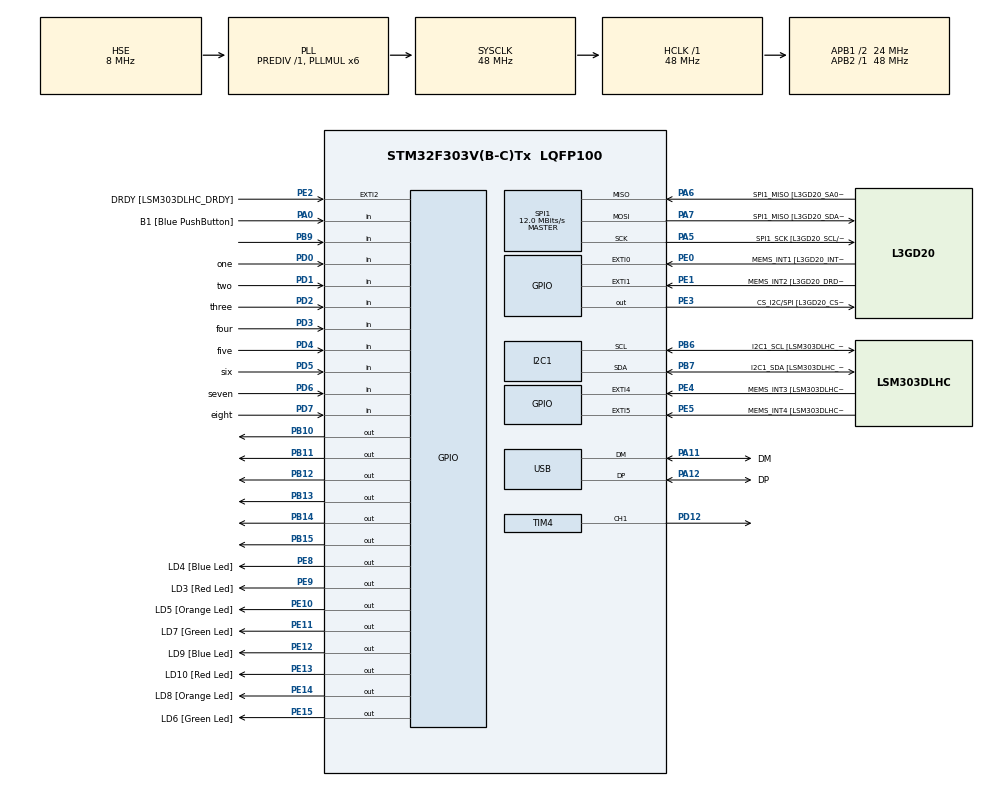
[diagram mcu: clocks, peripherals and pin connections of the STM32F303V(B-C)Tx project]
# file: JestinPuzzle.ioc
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I2C1.Timing=0x2000090E
I2C1.Timing-I2C=0x2000090E
Mcu.Family=STM32F3
Mcu.Name=STM32F303V(B-C)Tx
Mcu.Package=LQFP100
NVIC.PriorityGroup=NVIC_PRIORITYGROUP_0
PA0.GPIO_Label=B1 [Blue PushButton]
PA0.Signal=GPIO_Input
PA11.GPIO_Label=DM
PA11.Mode=Device
PA11.Signal=USB_DM
PA12.GPIO_Label=DP
PA12.Mode=Device
PA12.Signal=USB_DP
PA13.GPIO_Label=SWDIO
PA13.Mode=Serial_Wire
PA13.Signal=SYS_JTMS-SWDIO
PA14.GPIO_Label=SWCLK
PA14.Mode=Serial_Wire
PA14.Signal=SYS_JTCK-SWCLK
PA5.GPIO_Label=SPI1_SCK [L3GD20_SCL/SPC]
PA5.Mode=Full_Duplex_Master
PA5.Signal=SPI1_SCK
PA6.GPIO_Label=SPI1_MISO [L3GD20_SA0/SDO]
PA6.Mode=Full_Duplex_Master
PA6.Signal=SPI1_MISO
PA7.GPIO_Label=SPI1_MISO [L3GD20_SDA/SDI/SDO]
PA7.Mode=Full_Duplex_Master
PA7.Signal=SPI1_MOSI
PB10.Signal=GPIO_Output
PB11.Signal=GPIO_Output
PB12.Signal=GPIO_Output
PB13.Signal=GPIO_Output
PB14.Signal=GPIO_Output
PB15.Signal=GPIO_Output
PB3.GPIO_Label=SWO
PB3.Signal=SYS_JTDO-TRACESWO
PB6.GPIO_Label=I2C1_SCL [LSM303DLHC_SCL]
PB6.GPIO_Pu=GPIO_PULLUP
PB6.Mode=I2C
PB6.Signal=I2C1_SCL
PB7.GPIO_Label=I2C1_SDA [LSM303DLHC_SDA]
PB7.GPIO_Pu=GPIO_PULLUP
PB7.Mode=I2C
PB7.Signal=I2C1_SDA
PB9.GPIO_PuPd=GPIO_PULLDOWN
PB9.Signal=GPIO_Input
PC14-OSC32_IN.GPIO_Label=OSC32_IN
PC14-OSC32_IN.Signal=RCC_OSC32_IN
PC15-OSC32_OUT.GPIO_Label=OSC32_OUT
PC15-OSC32_OUT.Signal=RCC_OSC32_OUT
PD0.GPIO_Label=one
PD0.Signal=GPIO_Input
PD1.GPIO_Label=two
PD1.Signal=GPIO_Input
PD12.Signal=S_TIM4_CH1
PD2.GPIO_Label=three
PD2.Signal=GPIO_Input
PD3.GPIO_Label=four
PD3.Signal=GPIO_Input
PD4.GPIO_Label=five
PD4.Signal=GPIO_Input
PD5.GPIO_Label=six
PD5.Signal=GPIO_Input
PD6.GPIO_Label=seven
PD6.Signal=GPIO_Input
PD7.GPIO_Label=eight
PD7.Signal=GPIO_Input
PE0.GPIO_Label=MEMS_INT1 [L3GD20_INT1]
PE0.GPIO_ModeDefaultEXTI=GPIO_MODE_EVT_RISING
PE0.Signal=GPXTI0
PE1.GPIO_Label=MEMS_INT2 [L3GD20_DRDY/INT2]
PE1.GPIO_ModeDefaultEXTI=GPIO_MODE_EVT_RISING
PE1.Signal=GPXTI1
PE10.GPIO_Label=LD5 [Orange Led]
PE10.Signal=GPIO_Output
PE11.GPIO_Label=LD7 [Green Led]
PE11.Signal=GPIO_Output
PE12.GPIO_Label=LD9 [Blue Led]
PE12.Signal=GPIO_Output
PE13.GPIO_Label=LD10 [Red Led]
PE13.Signal=GPIO_Output
PE14.GPIO_Label=LD8 [Orange Led]
PE14.Signal=GPIO_Output
PE15.GPIO_Label=LD6 [Green Led]
PE15.Signal=GPIO_Output
PE2.GPIO_Label=DRDY [LSM303DLHC_DRDY]
PE2.GPIO_ModeDefaultEXTI=GPIO_MODE_EVT_RISING
PE2.Signal=GPXTI2
PE3.GPIO_Label=CS_I2C/SPI [L3GD20_CS_I2C/SPI]
PE3.Signal=GPIO_Output
PE4.GPIO_Label=MEMS_INT3 [LSM303DLHC_INT1]
PE4.GPIO_ModeDefaultEXTI=GPIO_MODE_EVT_RISING
PE4.Signal=GPXTI4
PE5.GPIO_Label=MEMS_INT4 [LSM303DLHC_INT2]
PE5.GPIO_ModeDefaultEXTI=GPIO_MODE_EVT_RISING
PE5.Signal=GPXTI5
PE8.GPIO_Label=LD4 [Blue Led]
PE8.Signal=GPIO_Output
PE9.GPIO_Label=LD3 [Red Led]
PE9.Signal=GPIO_Output
PF0-OSC_IN.GPIO_Label=OSC_IN
PF0-OSC_IN.Mode=HSE-External-Oscillator
PF0-OSC_IN.Signal=RCC_OSC_IN
PF1-OSC_OUT.GPIO_Label=OSC_OUT
PF1-OSC_OUT.Mode=HSE-External-Oscillator
PF1-OSC_OUT.Signal=RCC_OSC_OUT
ProjectManager.HeapSize=0x200
ProjectManager.StackSize=0x400
ProjectManager.TargetToolchain=STM32CubeIDE
RCC.AHBFreq_Value=48000000
RCC.APB1CLKDivider=RCC_HCLK_DIV2
RCC.APB1Freq_Value=24000000
RCC.APB1TimFreq_Value=48000000
RCC.APB2Freq_Value=48000000
RCC.APB2TimFreq_Value=48000000
RCC.CortexFreq_Value=48000000
RCC.HCLKFreq_Value=48000000
RCC.HSE_VALUE=8000000
RCC.HSI_VALUE=8000000
RCC.LSE_VALUE=32768
RCC.PLLMUL=RCC_PLL_MUL6
RCC.SYSCLKFreq_VALUE=48000000
RCC.SYSCLKSourceVirtual=RCC_SYSCLKSOURCE_PLLCLK
RCC.USBFreq_Value=48000000
SH.S_TIM4_CH1.0=TIM4_CH1,Output Compare1 CH1
SPI1.BaudRatePrescaler=SPI_BAUDRATEPRESCALER_4
SPI1.BaudRatePrescaler-Full_Duplex_Master=SPI_BAUDRATEPRESCALER_2
SPI1.CalculateBaudRate=12.0 MBits/s
SPI1.CalculateBaudRate-Full_Duplex_Master=24.0 MBits/s
SPI1.Direction=SPI_DIRECTION_2LINES
SPI1.Mode=SPI_MODE_MASTER
SPI1.Mode-Full_Duplex_Master=SPI_MODE_MASTER
SPI1.VirtualType=VM_MASTER
TIM2.Prescaler=47
TIM4.Channel-Output\ Compare1\ CH1=TIM_CHANNEL_1
TIM4.Prescaler=47
VP_TIM2_VS_ClockSourceINT.Mode=Internal
VP_TIM4_VS_ClockSourceINT.Mode=Internal
board=STM32F3DISCOVERY

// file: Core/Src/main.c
/* USER CODE BEGIN Header */
/**
  ******************************************************************************
  * @file           : main.c
  * @brief          : Main program body
  ******************************************************************************
  * @attention
  *
  * Copyright (c) 2023 STMicroelectronics.
  * All rights reserved.
  *
  * This software is licensed under terms that can be found in the LICENSE file
  * in the root directory of this software component.
  * If no LICENSE file comes with this software, it is provided AS-IS.
  *
  ******************************************************************************
  */
/* USER CODE END Header */
#include "main.h"

/* USER CODE BEGIN Includes */
#include <stdio.h>
#include <time.h>
#include <stdint.h>
#include <user_functions2.h>
#include "lcd.h"
/* USER CODE END Includes */

I2C_HandleTypeDef hi2c1;

SPI_HandleTypeDef hspi1;

TIM_HandleTypeDef htim2;
TIM_HandleTypeDef htim4;

PCD_HandleTypeDef hpcd_USB_FS;

/* USER CODE BEGIN PV */
uint8_t *led_register = ((uint8_t*)&(GPIOE->ODR)) + 1;

uint8_t Wnum = 0b00000000;

/* USER CODE END PV */

void SystemClock_Config(void);
static void MX_GPIO_Init(void);
static void MX_I2C1_Init(void);
static void MX_SPI1_Init(void);
static void MX_USB_PCD_Init(void);
static void MX_TIM2_Init(void);
static void MX_TIM4_Init(void);
/* USER CODE BEGIN PFP */
void initialise_board();
/* USER CODE END PFP */

int main(void)
{

  /* MCU Configuration--------------------------------------------------------*/

  /* Reset of all peripherals, Initializes the Flash interface and the Systick. */
  HAL_Init();

  /* Configure the system clock */
  SystemClock_Config();

  /* Initialize all configured peripherals */
  MX_GPIO_Init();
  MX_I2C1_Init();
  MX_SPI1_Init();
  MX_USB_PCD_Init();
  MX_TIM2_Init();
  MX_TIM4_Init();
  /* USER CODE BEGIN 2 */
	RCC->AHBENR |= RCC_AHBENR_GPIOEEN | RCC_AHBENR_GPIODEN;
	initialise_board();
	// Lcd_PortType ports[] = { D4_GPIO_Port, D5_GPIO_Port, D6_GPIO_Port, D7_GPIO_Port };
	Lcd_PortType ports[] = { GPIOB, GPIOB, GPIOB, GPIOB };
	// Lcd_PinType pins[] = {D4_Pin, D5_Pin, D6_Pin, D7_Pin};
	Lcd_PinType pins[] = {GPIO_PIN_10, GPIO_PIN_11, GPIO_PIN_12, GPIO_PIN_13};
	Lcd_HandleTypeDef lcd;
	// Lcd_create(ports, pins, RS_GPIO_Port, RS_Pin, EN_GPIO_Port, EN_Pin, LCD_4_BIT_MODE);
	lcd = Lcd_create(ports, pins, GPIOB, GPIO_PIN_15, GPIOB, GPIO_PIN_14, LCD_4_BIT_MODE);

	Lcd_cursor(&lcd, 0, 1);
	Lcd_string(&lcd, "Standby");

	while(1)
	{
		GPIO_PinState pinState = HAL_GPIO_ReadPin(GPIOB, GPIO_PIN_9);
		if (pinState == GPIO_PIN_SET)
		{
			break;
		}
	}

	Lcd_cursor(&lcd, 0,1);
	Lcd_string(&lcd, "Simon Says");
	Lcd_cursor(&lcd, 1,1);
	Lcd_string(&lcd, "Starting");
	HAL_Delay(4000);

	int x;
  /* USER CODE END 2 */

  /* Infinite loop */
  /* USER CODE BEGIN WHILE */
	Lcd_cursor(&lcd, 1,1);
	Lcd_string(&lcd, "Calibrating");

	while (*led_register != 0b11111111)
	{
		*led_register |= GPIOD->IDR;
		HAL_Delay(20);
	}

	HAL_TIM_IC_Start_IT(&htim4, TIM_CHANNEL_1);

	__HAL_TIM_SET_COUNTER(&htim4, 0);

	while (1)
	{
    /* USER CODE END WHILE */

    /* USER CODE BEGIN 3 */
		//***************************************************************************************************************************
		Lcd_clear(&lcd);
		Lcd_cursor(&lcd, 0,1);
		Lcd_string(&lcd, "Simon Says LVL1");
		Lcd_cursor(&lcd, 1,1);
		Lcd_string(&lcd, "Press B1 2 Begin");
//		*led_register = 0b00010001;	//indicates that your on the first level
		while (HAL_GPIO_ReadPin(B1_GPIO_Port, B1_Pin) != 1){}	//indicates that your ready to start the level

		Lcd_cursor(&lcd, 1,1);
		Lcd_string(&lcd, "                ");

		x = level1();

		if (x == 1)
		{
			*led_register = 0b11100000;
		}
		else
		{
			Lcd_clear(&lcd);
			Lcd_cursor(&lcd, 0,1);
			Lcd_string(&lcd, "Recalibrate");
			Lcd_cursor(&lcd, 1,1);
			Lcd_string(&lcd, "To start again");

			while (*led_register != 0b11111111) //you've failed, recalibrate to restart the game when you're ready
			{
				*led_register |= GPIOD->IDR;
				HAL_Delay(20);
			}
			continue;		//skips the rest of the while loop and restarts at level 1
		}
		//**************************************************************************************************************************

		//*********************************************************************************************************************
		Lcd_clear(&lcd);
		Lcd_cursor(&lcd, 0,1);
		Lcd_string(&lcd, "Simon Says LVL2");
		Lcd_cursor(&lcd, 1,1);
		Lcd_string(&lcd, "Press B1 2 Begin");
//		*led_register = 0b00110011;	//indicates that your on the second level
		while (HAL_GPIO_ReadPin(B1_GPIO_Port, B1_Pin) != 1){}
		Lcd_cursor(&lcd, 1,1);
		Lcd_string(&lcd, "Match pattern    ");

		x = level2();

		if (x == 1)
		{
			*led_register = 0b01010010;
		}
		else
		{
			while (HAL_GPIO_ReadPin(B1_GPIO_Port, B1_Pin) != 1)	//press the Blue button to restart the game
			{
				*led_register = 0b00110011;		//fail routine
				HAL_Delay(800);
				*led_register = 0b01010101;
				HAL_Delay(800);
			}
			continue;		//skips the rest of the while loop and restarts at level 1
		}
		//**********************************************************************************************************

		//*******************************************************************************************************
		Lcd_clear(&lcd);
		Lcd_cursor(&lcd, 0,1);
		Lcd_string(&lcd, "Simon Says LVL3");
		Lcd_cursor(&lcd, 1,1);
		Lcd_string(&lcd, "Press B1 2 Begin");
//		*led_register = 0b01110111;	//indicates that your on the third level
		while (HAL_GPIO_ReadPin(B1_GPIO_Port, B1_Pin) != 1){}
		x = level3();

		if (x == 1)
		{
			*led_register = 0b00010101;
		}
		else
		{
			while (HAL_GPIO_ReadPin(B1_GPIO_Port, B1_Pin) != 1)	//press the Blue button to restart the game
			{
				*led_register = 0b00110011;		//fail routine
				HAL_Delay(800);
				*led_register = 0b01010101;
				HAL_Delay(800);
			}
			continue;		//skips the rest of the while loop and restarts at level 1
		}
		//**************************************************************************************************

		//****************************************************************************************************
		Lcd_clear(&lcd);
		Lcd_cursor(&lcd, 0,1);
		Lcd_string(&lcd, "Simon Says LVL4");
		Lcd_cursor(&lcd, 1,1);
		Lcd_string(&lcd, "Press B1 2 Begin");
//		*led_register = 0b11111111;	//indicates that your on the last level
		x = level4();
		while (HAL_GPIO_ReadPin(B1_GPIO_Port, B1_Pin) != 1){}

		if (x == 1)
		{
			*led_register = 0b10101000;
		}
		else
		{
			while (HAL_GPIO_ReadPin(B1_GPIO_Port, B1_Pin) != 1)	//press the Blue button to restart the game
			{
				*led_register = 0b00110011;		//fail routine
				HAL_Delay(800);
				*led_register = 0b01010101;
				HAL_Delay(800);
			}
			continue;		//skips the rest of the while loop and restarts at level 1
		}
		//*********************************************************************************************

		//*****************************************************************************************
		Lcd_clear(&lcd);
		Lcd_cursor(&lcd, 0,0);
		Lcd_string(&lcd, "Puzzle Completed");
		Lcd_cursor(&lcd, 1,1);
		Lcd_string(&lcd, "Congratulations");

		Lcd_cursor(&lcd, 1,1);
		Lcd_string(&lcd, "B1 to continue");

		while (HAL_GPIO_ReadPin(B1_GPIO_Port, B1_Pin) != 1){}

		Lcd_clear(&lcd);
		Lcd_cursor(&lcd, 0,0);
		Lcd_string(&lcd, "Press B1 2 cycle");
		Lcd_cursor(&lcd, 1,1);
		Lcd_string(&lcd, "through patterns");

		while(1)
		{
			while (HAL_GPIO_ReadPin(B1_GPIO_Port, B1_Pin) != 1)
			{
				Lcd_cursor(&lcd, 1,1);
				Lcd_string(&lcd, "Pattern 1       ");
				*led_register = 0b11100000;
			}
			while (HAL_GPIO_ReadPin(B1_GPIO_Port, B1_Pin) != 1)
			{
				Lcd_cursor(&lcd, 1,1);
				Lcd_string(&lcd, "Pattern 2       ");
				*led_register = 0b01010010;
			}
			while (HAL_GPIO_ReadPin(B1_GPIO_Port, B1_Pin) != 1)	//press the Blue button to restart the game
			{
				Lcd_cursor(&lcd, 1,1);
				Lcd_string(&lcd, "Pattern 3       ");
				*led_register = 0b00010101;
			}
			while (HAL_GPIO_ReadPin(B1_GPIO_Port, B1_Pin) != 1)	//press the Blue button to restart the game
			{
				Lcd_cursor(&lcd, 1,1);
				Lcd_string(&lcd, "Pattern 4       ");
				*led_register = 0b10101000;
			}
		}
		//*************************************************************************************

		break;		//If you complete all levels without failing then the break will stop the while loop
	}
  /* USER CODE END 3 */
}

void SystemClock_Config(void)
{
  RCC_OscInitTypeDef RCC_OscInitStruct = {0};
  RCC_ClkInitTypeDef RCC_ClkInitStruct = {0};
  RCC_PeriphCLKInitTypeDef PeriphClkInit = {0};

  /** Initializes the RCC Oscillators according to the specified parameters
  * in the RCC_OscInitTypeDef structure.
  */
  RCC_OscInitStruct.OscillatorType = RCC_OSCILLATORTYPE_HSI|RCC_OSCILLATORTYPE_HSE;
  RCC_OscInitStruct.HSEState = RCC_HSE_ON;
  RCC_OscInitStruct.HSEPredivValue = RCC_HSE_PREDIV_DIV1;
  RCC_OscInitStruct.HSIState = RCC_HSI_ON;
  RCC_OscInitStruct.HSICalibrationValue = RCC_HSICALIBRATION_DEFAULT;
  RCC_OscInitStruct.PLL.PLLState = RCC_PLL_ON;
  RCC_OscInitStruct.PLL.PLLSource = RCC_PLLSOURCE_HSE;
  RCC_OscInitStruct.PLL.PLLMUL = RCC_PLL_MUL6;
  if (HAL_RCC_OscConfig(&RCC_OscInitStruct) != HAL_OK)
  {
    Error_Handler();
  }

  /** Initializes the CPU, AHB and APB buses clocks
  */
  RCC_ClkInitStruct.ClockType = RCC_CLOCKTYPE_HCLK|RCC_CLOCKTYPE_SYSCLK
                              |RCC_CLOCKTYPE_PCLK1|RCC_CLOCKTYPE_PCLK2;
  RCC_ClkInitStruct.SYSCLKSource = RCC_SYSCLKSOURCE_PLLCLK;
  RCC_ClkInitStruct.AHBCLKDivider = RCC_SYSCLK_DIV1;
  RCC_ClkInitStruct.APB1CLKDivider = RCC_HCLK_DIV2;
  RCC_ClkInitStruct.APB2CLKDivider = RCC_HCLK_DIV1;

  if (HAL_RCC_ClockConfig(&RCC_ClkInitStruct, FLASH_LATENCY_1) != HAL_OK)
  {
    Error_Handler();
  }
  PeriphClkInit.PeriphClockSelection = RCC_PERIPHCLK_USB|RCC_PERIPHCLK_I2C1;
  PeriphClkInit.I2c1ClockSelection = RCC_I2C1CLKSOURCE_HSI;
  PeriphClkInit.USBClockSelection = RCC_USBCLKSOURCE_PLL;
  if (HAL_RCCEx_PeriphCLKConfig(&PeriphClkInit) != HAL_OK)
  {
    Error_Handler();
  }
}

static void MX_I2C1_Init(void)
{

  hi2c1.Instance = I2C1;
  hi2c1.Init.Timing = 0x2000090E;
  hi2c1.Init.OwnAddress1 = 0;
  hi2c1.Init.AddressingMode = I2C_ADDRESSINGMODE_7BIT;
  hi2c1.Init.DualAddressMode = I2C_DUALADDRESS_DISABLE;
  hi2c1.Init.OwnAddress2 = 0;
  hi2c1.Init.OwnAddress2Masks = I2C_OA2_NOMASK;
  hi2c1.Init.GeneralCallMode = I2C_GENERALCALL_DISABLE;
  hi2c1.Init.NoStretchMode = I2C_NOSTRETCH_DISABLE;
  if (HAL_I2C_Init(&hi2c1) != HAL_OK)
  {
    Error_Handler();
  }

  /** Configure Analogue filter
  */
  if (HAL_I2CEx_ConfigAnalogFilter(&hi2c1, I2C_ANALOGFILTER_ENABLE) != HAL_OK)
  {
    Error_Handler();
  }

  /** Configure Digital filter
  */
  if (HAL_I2CEx_ConfigDigitalFilter(&hi2c1, 0) != HAL_OK)
  {
    Error_Handler();
  }

}

static void MX_SPI1_Init(void)
{

  /* SPI1 parameter configuration*/
  hspi1.Instance = SPI1;
  hspi1.Init.Mode = SPI_MODE_MASTER;
  hspi1.Init.Direction = SPI_DIRECTION_2LINES;
  hspi1.Init.DataSize = SPI_DATASIZE_4BIT;
  hspi1.Init.CLKPolarity = SPI_POLARITY_LOW;
  hspi1.Init.CLKPhase = SPI_PHASE_1EDGE;
  hspi1.Init.NSS = SPI_NSS_SOFT;
  hspi1.Init.BaudRatePrescaler = SPI_BAUDRATEPRESCALER_4;
  hspi1.Init.FirstBit = SPI_FIRSTBIT_MSB;
  hspi1.Init.TIMode = SPI_TIMODE_DISABLE;
  hspi1.Init.CRCCalculation = SPI_CRCCALCULATION_DISABLE;
  hspi1.Init.CRCPolynomial = 7;
  hspi1.Init.CRCLength = SPI_CRC_LENGTH_DATASIZE;
  hspi1.Init.NSSPMode = SPI_NSS_PULSE_ENABLE;
  if (HAL_SPI_Init(&hspi1) != HAL_OK)
  {
    Error_Handler();
  }

}

static void MX_TIM2_Init(void)
{

  TIM_ClockConfigTypeDef sClockSourceConfig = {0};
  TIM_MasterConfigTypeDef sMasterConfig = {0};

  htim2.Instance = TIM2;
  htim2.Init.Prescaler = 47;
  htim2.Init.CounterMode = TIM_COUNTERMODE_UP;
  htim2.Init.Period = 4294967295;
  htim2.Init.ClockDivision = TIM_CLOCKDIVISION_DIV1;
  htim2.Init.AutoReloadPreload = TIM_AUTORELOAD_PRELOAD_DISABLE;
  if (HAL_TIM_Base_Init(&htim2) != HAL_OK)
  {
    Error_Handler();
  }
  sClockSourceConfig.ClockSource = TIM_CLOCKSOURCE_INTERNAL;
  if (HAL_TIM_ConfigClockSource(&htim2, &sClockSourceConfig) != HAL_OK)
  {
    Error_Handler();
  }
  sMasterConfig.MasterOutputTrigger = TIM_TRGO_RESET;
  sMasterConfig.MasterSlaveMode = TIM_MASTERSLAVEMODE_DISABLE;
  if (HAL_TIMEx_MasterConfigSynchronization(&htim2, &sMasterConfig) != HAL_OK)
  {
    Error_Handler();
  }

}

static void MX_TIM4_Init(void)
{

  TIM_ClockConfigTypeDef sClockSourceConfig = {0};
  TIM_MasterConfigTypeDef sMasterConfig = {0};
  TIM_OC_InitTypeDef sConfigOC = {0};

  htim4.Instance = TIM4;
  htim4.Init.Prescaler = 47;
  htim4.Init.CounterMode = TIM_COUNTERMODE_UP;
  htim4.Init.Period = 65535;
  htim4.Init.ClockDivision = TIM_CLOCKDIVISION_DIV1;
  htim4.Init.AutoReloadPreload = TIM_AUTORELOAD_PRELOAD_DISABLE;
  if (HAL_TIM_Base_Init(&htim4) != HAL_OK)
  {
    Error_Handler();
  }
  sClockSourceConfig.ClockSource = TIM_CLOCKSOURCE_INTERNAL;
  if (HAL_TIM_ConfigClockSource(&htim4, &sClockSourceConfig) != HAL_OK)
  {
    Error_Handler();
  }
  if (HAL_TIM_OC_Init(&htim4) != HAL_OK)
  {
    Error_Handler();
  }
  sMasterConfig.MasterOutputTrigger = TIM_TRGO_RESET;
  sMasterConfig.MasterSlaveMode = TIM_MASTERSLAVEMODE_DISABLE;
  if (HAL_TIMEx_MasterConfigSynchronization(&htim4, &sMasterConfig) != HAL_OK)
  {
    Error_Handler();
  }
  sConfigOC.OCMode = TIM_OCMODE_TIMING;
  sConfigOC.Pulse = 0;
  sConfigOC.OCPolarity = TIM_OCPOLARITY_HIGH;
  sConfigOC.OCFastMode = TIM_OCFAST_DISABLE;
  if (HAL_TIM_OC_ConfigChannel(&htim4, &sConfigOC, TIM_CHANNEL_1) != HAL_OK)
  {
    Error_Handler();
  }
  HAL_TIM_MspPostInit(&htim4);

}

static void MX_USB_PCD_Init(void)
{

  hpcd_USB_FS.Instance = USB;
  hpcd_USB_FS.Init.dev_endpoints = 8;
  hpcd_USB_FS.Init.speed = PCD_SPEED_FULL;
  hpcd_USB_FS.Init.phy_itface = PCD_PHY_EMBEDDED;
  hpcd_USB_FS.Init.low_power_enable = DISABLE;
  hpcd_USB_FS.Init.battery_charging_enable = DISABLE;
  if (HAL_PCD_Init(&hpcd_USB_FS) != HAL_OK)
  {
    Error_Handler();
  }

}

static void MX_GPIO_Init(void)
{
  GPIO_InitTypeDef GPIO_InitStruct = {0};

  /* GPIO Ports Clock Enable */
  __HAL_RCC_GPIOE_CLK_ENABLE();
  __HAL_RCC_GPIOC_CLK_ENABLE();
  __HAL_RCC_GPIOF_CLK_ENABLE();
  __HAL_RCC_GPIOA_CLK_ENABLE();
  __HAL_RCC_GPIOB_CLK_ENABLE();
  __HAL_RCC_GPIOD_CLK_ENABLE();

  /*Configure GPIO pin Output Level */
  HAL_GPIO_WritePin(GPIOE, CS_I2C_SPI_Pin|LD4_Pin|LD3_Pin|LD5_Pin
                          |LD7_Pin|LD9_Pin|LD10_Pin|LD8_Pin
                          |LD6_Pin, GPIO_PIN_RESET);

  /*Configure GPIO pin Output Level */
  HAL_GPIO_WritePin(GPIOB, GPIO_PIN_10|GPIO_PIN_11|GPIO_PIN_12|GPIO_PIN_13
                          |GPIO_PIN_14|GPIO_PIN_15, GPIO_PIN_RESET);

  /*Configure GPIO pins : DRDY_Pin MEMS_INT3_Pin MEMS_INT4_Pin MEMS_INT1_Pin
                           MEMS_INT2_Pin */
  GPIO_InitStruct.Pin = DRDY_Pin|MEMS_INT3_Pin|MEMS_INT4_Pin|MEMS_INT1_Pin
                          |MEMS_INT2_Pin;
  GPIO_InitStruct.Mode = GPIO_MODE_EVT_RISING;
  GPIO_InitStruct.Pull = GPIO_NOPULL;
  HAL_GPIO_Init(GPIOE, &GPIO_InitStruct);

  /*Configure GPIO pins : CS_I2C_SPI_Pin LD4_Pin LD3_Pin LD5_Pin
                           LD7_Pin LD9_Pin LD10_Pin LD8_Pin
                           LD6_Pin */
  GPIO_InitStruct.Pin = CS_I2C_SPI_Pin|LD4_Pin|LD3_Pin|LD5_Pin
                          |LD7_Pin|LD9_Pin|LD10_Pin|LD8_Pin
                          |LD6_Pin;
  GPIO_InitStruct.Mode = GPIO_MODE_OUTPUT_PP;
  GPIO_InitStruct.Pull = GPIO_NOPULL;
  GPIO_InitStruct.Speed = GPIO_SPEED_FREQ_LOW;
  HAL_GPIO_Init(GPIOE, &GPIO_InitStruct);

  /*Configure GPIO pin : B1_Pin */
  GPIO_InitStruct.Pin = B1_Pin;
  GPIO_InitStruct.Mode = GPIO_MODE_INPUT;
  GPIO_InitStruct.Pull = GPIO_NOPULL;
  HAL_GPIO_Init(B1_GPIO_Port, &GPIO_InitStruct);

  /*Configure GPIO pins : PB10 PB11 PB12 PB13
                           PB14 PB15 */
  GPIO_InitStruct.Pin = GPIO_PIN_10|GPIO_PIN_11|GPIO_PIN_12|GPIO_PIN_13
                          |GPIO_PIN_14|GPIO_PIN_15;
  GPIO_InitStruct.Mode = GPIO_MODE_OUTPUT_PP;
  GPIO_InitStruct.Pull = GPIO_NOPULL;
  GPIO_InitStruct.Speed = GPIO_SPEED_FREQ_LOW;
  HAL_GPIO_Init(GPIOB, &GPIO_InitStruct);

  /*Configure GPIO pins : one_Pin two_Pin three_Pin four_Pin
                           five_Pin six_Pin seven_Pin eight_Pin */
  GPIO_InitStruct.Pin = one_Pin|two_Pin|three_Pin|four_Pin
                          |five_Pin|six_Pin|seven_Pin|eight_Pin;
  GPIO_InitStruct.Mode = GPIO_MODE_INPUT;
  GPIO_InitStruct.Pull = GPIO_NOPULL;
  HAL_GPIO_Init(GPIOD, &GPIO_InitStruct);

  /*Configure GPIO pin : PB9 */
  GPIO_InitStruct.Pin = GPIO_PIN_9;
  GPIO_InitStruct.Mode = GPIO_MODE_INPUT;
  GPIO_InitStruct.Pull = GPIO_PULLDOWN;
  HAL_GPIO_Init(GPIOB, &GPIO_InitStruct);

}

/* USER CODE BEGIN 4 */
void initialise_board() {
	// get a pointer to the second half word of the MODER register (for outputs pe8-15)
	uint16_t *led_output_registers = ((uint16_t *)&(GPIOE->MODER)) + 1;
	*led_output_registers = 0x5555;
}

/* USER CODE END 4 */

void Error_Handler(void)
{
  __disable_irq();
  while (1)
  {
  }
}
